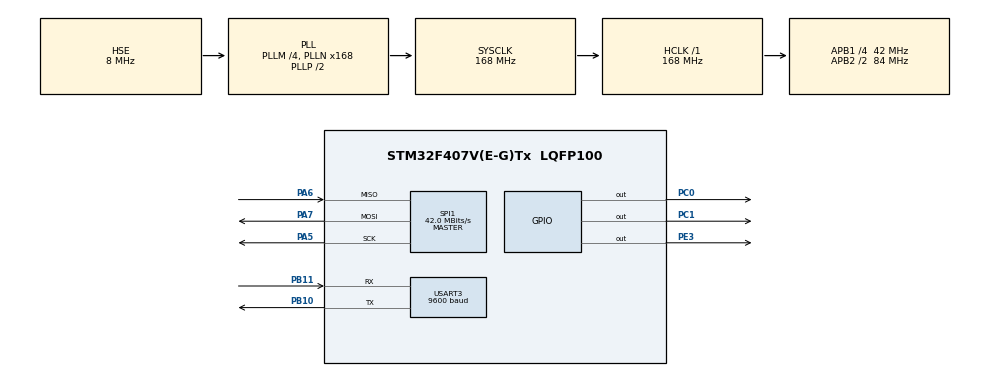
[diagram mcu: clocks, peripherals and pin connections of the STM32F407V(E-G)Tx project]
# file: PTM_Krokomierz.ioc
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Mcu.Family=STM32F4
Mcu.Name=STM32F407V(E-G)Tx
Mcu.Package=LQFP100
NVIC.PriorityGroup=NVIC_PRIORITYGROUP_4
NVIC.TIM3_IRQn=true\:0\:0\:false\:false\:true\:true
NVIC.USART3_IRQn=true\:0\:0\:false\:false\:true\:true
PA5.Mode=Full_Duplex_Master
PA5.Signal=SPI1_SCK
PA6.Mode=Full_Duplex_Master
PA6.Signal=SPI1_MISO
PA7.Mode=Full_Duplex_Master
PA7.Signal=SPI1_MOSI
PB10.Mode=Asynchronous
PB10.Signal=USART3_TX
PB11.Mode=Asynchronous
PB11.Signal=USART3_RX
PC0.Signal=GPIO_Output
PC1.Signal=GPIO_Output
PE3.Signal=GPIO_Output
PH0-OSC_IN.Mode=HSE-External-Oscillator
PH0-OSC_IN.Signal=RCC_OSC_IN
PH1-OSC_OUT.Mode=HSE-External-Oscillator
PH1-OSC_OUT.Signal=RCC_OSC_OUT
ProjectManager.HeapSize=0x200
ProjectManager.StackSize=0x400
ProjectManager.TargetToolchain=SW4STM32
RCC.48MHZClocksFreq_Value=84000000
RCC.AHBFreq_Value=168000000
RCC.APB1CLKDivider=RCC_HCLK_DIV4
RCC.APB1Freq_Value=42000000
RCC.APB1TimFreq_Value=84000000
RCC.APB2CLKDivider=RCC_HCLK_DIV2
RCC.APB2Freq_Value=84000000
RCC.APB2TimFreq_Value=168000000
RCC.CortexFreq_Value=168000000
RCC.HCLKFreq_Value=168000000
RCC.HSE_VALUE=8000000
RCC.HSI_VALUE=16000000
RCC.LSE_VALUE=32768
RCC.PLLM=4
RCC.PLLN=168
RCC.PLLSourceVirtual=RCC_PLLSOURCE_HSE
RCC.SYSCLKFreq_VALUE=168000000
RCC.SYSCLKSource=RCC_SYSCLKSOURCE_PLLCLK
RCC.VCOOutputFreq_Value=336000000
SPI1.BaudRatePrescaler=SPI_BAUDRATEPRESCALER_2
SPI1.CalculateBaudRate=42.0 MBits/s
SPI1.Direction=SPI_DIRECTION_2LINES
SPI1.Mode=SPI_MODE_MASTER
SPI1.VirtualType=VM_MASTER
TIM3.Period=2624
TIM3.Prescaler=124
USART3.BaudRate=9600
USART3.VirtualMode=VM_ASYNC
VP_TIM3_VS_ClockSourceINT.Mode=Internal
board=custom

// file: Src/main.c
#include "main.h"
#include "stm32f4xx_hal.h"

/* USER CODE BEGIN Includes */

#define kiss_fft_scalar 	float

#include "lis3dsh.h"
#include "stm32_tm1637.h"
#include "kiss_fft.h"
#include "fft_compat.h"
/* USER CODE END Includes */

SPI_HandleTypeDef hspi1;

TIM_HandleTypeDef htim3;

UART_HandleTypeDef huart3;

/* USER CODE BEGIN PV */
/* Private variables ---------------------------------------------------------*/

float accX, accY, accZ, out[4];
uint8_t receiveUART[1];
uint16_t sizeReceiveUART = 1;
char toSend[5] = { 0,0,0,0,0 };

//char buffer[5];
/* USER CODE END PV */

void SystemClock_Config(void);
static void MX_GPIO_Init(void);
static void MX_TIM3_Init(void);
static void MX_SPI1_Init(void);
static void MX_USART3_UART_Init(void);

/* USER CODE BEGIN PFP */
/* Private function prototypes -----------------------------------------------*/

int kroki = 0;
int8_t stop = 0;

double probki[64] = {0.0};
float zesp[128] = {0.0};
float mag[64] = {0.0};

uint8_t wyniki = 0;
double maxvalue;
uint32_t vindex;
int krokiCache = 0;

void sendStep();
void CzyKrok();

void HAL_UART_RxCpltCallback(UART_HandleTypeDef *huart) {
   if(huart->Instance == USART3){
	   char odb = receiveUART[0];
	   if(odb == 'Z') {
		   sendStep();
	   }
       HAL_UART_Receive_IT(&huart3, receiveUART, sizeReceiveUART);
   }
}

void HAL_TIM_PeriodElapsedCallback(TIM_HandleTypeDef *htim){
   	if(htim->Instance == TIM3)
   	{
   		LIS3DSH_ReadACC(out);
   		accX = out[0];
   		accY = out[1];
   		accZ = out[2];

		if (wyniki < 64){
			float x = accX;
			float y = accY;
			float z = accZ;
			probki[wyniki++] = x+y+z;
		}
		else CzyKrok();
    }
}

void CzyKrok(){

	// Wy³¹czamy timer by moc zrobic odczyt bez kolejnego przerwania
	HAL_TIM_Base_Stop_IT(&htim3);

	uint8_t u = 0;

	for(int i = 0; i < 128; i = i + 2){
		zesp[i] = (float) probki[u++];
	}

	// Transformata
	kiss_fft_cfg cfg = kiss_fft_alloc(64, 0, 0, 0);

	kiss_fft(cfg, zesp, zesp);

	free(cfg);

	zesp[0] = 0;

	// Modu³ liczby zespolonej
	arm_cmplx_mag_squared_f32(zesp, mag, 64);

	mag[0] = 0;

	// Maksymalna wartosc
	arm_max_f32(mag, 64, &maxvalue, &vindex);

	mag[2] = mag[2]/100000;

	if(mag[2] > 196){
		if(stop == 0){
			kroki++;
			//sendStep(++kroki);
			stop = 1;
		} else stop = 0;
	} else stop = 0;

	// Porz¹dki
	for(int i=0;i<64;i++){
		probki[i] = 0;
	}

	for(int i=0;i<2*64;i++){
		zesp[i] = 0;
	}

	wyniki = 0;

	// W³¹czamy timer
	HAL_TIM_Base_Start_IT(&htim3);
}

void sendStep(){

	// Wyœwietlanie
	//sprintf(buffer,"%d", step);
	krokiCache = kroki;
	HAL_UART_Transmit_IT(&huart3, (uint8_t*)(&krokiCache), 4);
	kroki = 0;
	//tm1637DisplayDecimal(step, 0);
}

/* USER CODE END PFP */

int main(void)
{

  /* MCU Configuration----------------------------------------------------------*/

  /* Reset of all peripherals, Initializes the Flash interface and the Systick. */
  HAL_Init();

  /* Configure the system clock */
  SystemClock_Config();

  /* Initialize all configured peripherals */
  MX_GPIO_Init();
  MX_TIM3_Init();
  MX_SPI1_Init();
  MX_USART3_UART_Init();
  /* USER CODE BEGIN 2 */
  tm1637Init();
  tm1637SetBrightness(3);
  tm1637DisplayDecimal(0, 0);
  LISInit();
  HAL_UART_Receive_IT(&huart3, receiveUART, sizeReceiveUART);
  HAL_TIM_Base_Start_IT(&htim3);

  /* USER CODE END 2 */

  /* Infinite loop */
  while (1)
  {

  }

}

void SystemClock_Config(void)
{

  RCC_OscInitTypeDef RCC_OscInitStruct;
  RCC_ClkInitTypeDef RCC_ClkInitStruct;

    /**Configure the main internal regulator output voltage
    */
  __HAL_RCC_PWR_CLK_ENABLE();

  __HAL_PWR_VOLTAGESCALING_CONFIG(PWR_REGULATOR_VOLTAGE_SCALE1);

    /**Initializes the CPU, AHB and APB busses clocks
    */
  RCC_OscInitStruct.OscillatorType = RCC_OSCILLATORTYPE_HSE;
  RCC_OscInitStruct.HSEState = RCC_HSE_ON;
  RCC_OscInitStruct.PLL.PLLState = RCC_PLL_ON;
  RCC_OscInitStruct.PLL.PLLSource = RCC_PLLSOURCE_HSE;
  RCC_OscInitStruct.PLL.PLLM = 4;
  RCC_OscInitStruct.PLL.PLLN = 168;
  RCC_OscInitStruct.PLL.PLLP = RCC_PLLP_DIV2;
  RCC_OscInitStruct.PLL.PLLQ = 4;
  if (HAL_RCC_OscConfig(&RCC_OscInitStruct) != HAL_OK)
  {
    _Error_Handler(__FILE__, __LINE__);
  }

    /**Initializes the CPU, AHB and APB busses clocks
    */
  RCC_ClkInitStruct.ClockType = RCC_CLOCKTYPE_HCLK|RCC_CLOCKTYPE_SYSCLK
                              |RCC_CLOCKTYPE_PCLK1|RCC_CLOCKTYPE_PCLK2;
  RCC_ClkInitStruct.SYSCLKSource = RCC_SYSCLKSOURCE_PLLCLK;
  RCC_ClkInitStruct.AHBCLKDivider = RCC_SYSCLK_DIV1;
  RCC_ClkInitStruct.APB1CLKDivider = RCC_HCLK_DIV4;
  RCC_ClkInitStruct.APB2CLKDivider = RCC_HCLK_DIV2;

  if (HAL_RCC_ClockConfig(&RCC_ClkInitStruct, FLASH_LATENCY_5) != HAL_OK)
  {
    _Error_Handler(__FILE__, __LINE__);
  }

    /**Configure the Systick interrupt time
    */
  HAL_SYSTICK_Config(HAL_RCC_GetHCLKFreq()/1000);

    /**Configure the Systick
    */
  HAL_SYSTICK_CLKSourceConfig(SYSTICK_CLKSOURCE_HCLK);

  /* SysTick_IRQn interrupt configuration */
  HAL_NVIC_SetPriority(SysTick_IRQn, 0, 0);
}

/* SPI1 init function */
static void MX_SPI1_Init(void)
{

  /* SPI1 parameter configuration*/
  hspi1.Instance = SPI1;
  hspi1.Init.Mode = SPI_MODE_MASTER;
  hspi1.Init.Direction = SPI_DIRECTION_2LINES;
  hspi1.Init.DataSize = SPI_DATASIZE_8BIT;
  hspi1.Init.CLKPolarity = SPI_POLARITY_LOW;
  hspi1.Init.CLKPhase = SPI_PHASE_1EDGE;
  hspi1.Init.NSS = SPI_NSS_SOFT;
  hspi1.Init.BaudRatePrescaler = SPI_BAUDRATEPRESCALER_2;
  hspi1.Init.FirstBit = SPI_FIRSTBIT_MSB;
  hspi1.Init.TIMode = SPI_TIMODE_DISABLE;
  hspi1.Init.CRCCalculation = SPI_CRCCALCULATION_DISABLE;
  hspi1.Init.CRCPolynomial = 10;
  if (HAL_SPI_Init(&hspi1) != HAL_OK)
  {
    _Error_Handler(__FILE__, __LINE__);
  }

}

/* TIM3 init function */
static void MX_TIM3_Init(void)
{

  TIM_ClockConfigTypeDef sClockSourceConfig;
  TIM_MasterConfigTypeDef sMasterConfig;

  htim3.Instance = TIM3;
  htim3.Init.Prescaler = 124;
  htim3.Init.CounterMode = TIM_COUNTERMODE_UP;
  htim3.Init.Period = 2624;
  htim3.Init.ClockDivision = TIM_CLOCKDIVISION_DIV1;
  if (HAL_TIM_Base_Init(&htim3) != HAL_OK)
  {
    _Error_Handler(__FILE__, __LINE__);
  }

  sClockSourceConfig.ClockSource = TIM_CLOCKSOURCE_INTERNAL;
  if (HAL_TIM_ConfigClockSource(&htim3, &sClockSourceConfig) != HAL_OK)
  {
    _Error_Handler(__FILE__, __LINE__);
  }

  sMasterConfig.MasterOutputTrigger = TIM_TRGO_RESET;
  sMasterConfig.MasterSlaveMode = TIM_MASTERSLAVEMODE_DISABLE;
  if (HAL_TIMEx_MasterConfigSynchronization(&htim3, &sMasterConfig) != HAL_OK)
  {
    _Error_Handler(__FILE__, __LINE__);
  }

}

/* USART3 init function */
static void MX_USART3_UART_Init(void)
{

  huart3.Instance = USART3;
  huart3.Init.BaudRate = 9600;
  huart3.Init.WordLength = UART_WORDLENGTH_8B;
  huart3.Init.StopBits = UART_STOPBITS_1;
  huart3.Init.Parity = UART_PARITY_NONE;
  huart3.Init.Mode = UART_MODE_TX_RX;
  huart3.Init.HwFlowCtl = UART_HWCONTROL_NONE;
  huart3.Init.OverSampling = UART_OVERSAMPLING_16;
  if (HAL_UART_Init(&huart3) != HAL_OK)
  {
    _Error_Handler(__FILE__, __LINE__);
  }

}

/** Configure pins as
        * Analog
        * Input
        * Output
        * EVENT_OUT
        * EXTI
*/
static void MX_GPIO_Init(void)
{

  GPIO_InitTypeDef GPIO_InitStruct;

  /* GPIO Ports Clock Enable */
  __HAL_RCC_GPIOE_CLK_ENABLE();
  __HAL_RCC_GPIOH_CLK_ENABLE();
  __HAL_RCC_GPIOC_CLK_ENABLE();
  __HAL_RCC_GPIOA_CLK_ENABLE();
  __HAL_RCC_GPIOB_CLK_ENABLE();

  /*Configure GPIO pin Output Level */
  HAL_GPIO_WritePin(GPIOE, GPIO_PIN_3, GPIO_PIN_RESET);

  /*Configure GPIO pin Output Level */
  HAL_GPIO_WritePin(GPIOC, GPIO_PIN_0|GPIO_PIN_1, GPIO_PIN_RESET);

  /*Configure GPIO pin : PE3 */
  GPIO_InitStruct.Pin = GPIO_PIN_3;
  GPIO_InitStruct.Mode = GPIO_MODE_OUTPUT_PP;
  GPIO_InitStruct.Pull = GPIO_NOPULL;
  GPIO_InitStruct.Speed = GPIO_SPEED_FREQ_LOW;
  HAL_GPIO_Init(GPIOE, &GPIO_InitStruct);

  /*Configure GPIO pins : PC0 PC1 */
  GPIO_InitStruct.Pin = GPIO_PIN_0|GPIO_PIN_1;
  GPIO_InitStruct.Mode = GPIO_MODE_OUTPUT_PP;
  GPIO_InitStruct.Pull = GPIO_NOPULL;
  GPIO_InitStruct.Speed = GPIO_SPEED_FREQ_LOW;
  HAL_GPIO_Init(GPIOC, &GPIO_InitStruct);

}

void _Error_Handler(char *file, int line)
{
  while(1)
  {
  }
}

/************************ (C) COPYRIGHT STMicroelectronics *****END OF FILE****/
